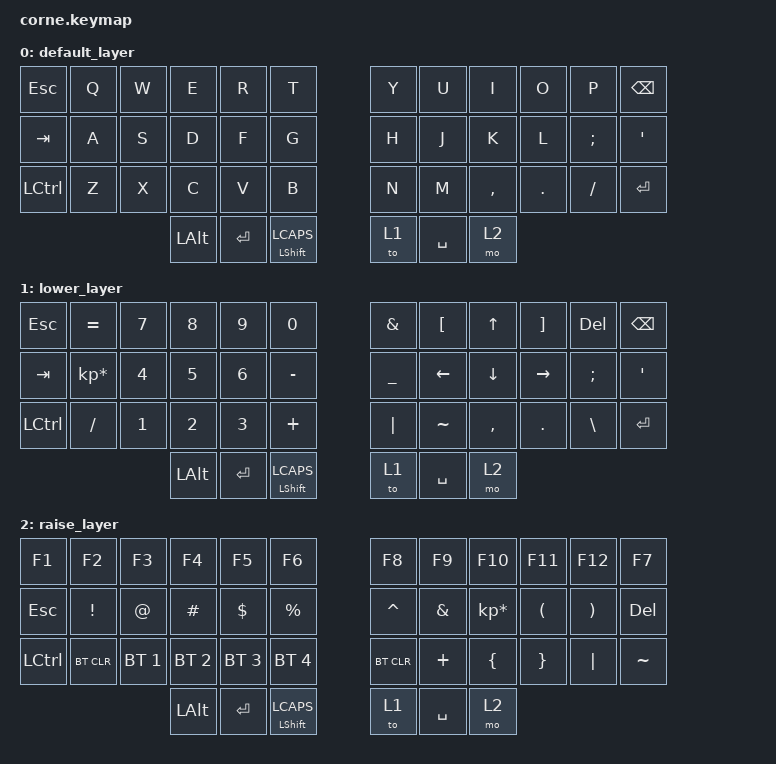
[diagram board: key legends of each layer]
/*
 * Copyright (c) 2020 The ZMK Contributors
 *
 * SPDX-License-Identifier: MIT
 */

#include <behaviors.dtsi>
#include <dt-bindings/zmk/keys.h>
#include <dt-bindings/zmk/bt.h>

/ {
        keymap {
                compatible = "zmk,keymap";

                default_layer {
// -----------------------------------------------------------------------------------------
// | ESC |  Q  |  W  |  E  |  R  |  T  |   |  Y  |  U   |  I  |  O  |  P  | BKSP |
// | TAB |  A  |  S  |  D  |  F  |  G  |   |  H  |  J   |  K  |  L  |  ;  |  '   |
// | CTRL |  Z  |  X  |  C  |  V  |  B  |   |  N  |  M   |  ,  |  .  |  /  | ENT  |
//                    | ALT | ENT | SHF |   | RSE | SPACE  | LWR |
                        bindings = <
&kp ESC	  &kp Q	  &kp W	&kp E	&kp R	&kp T		&kp Y	&kp U		&kp I		&kp O		&kp P		&kp BSPC
&kp TAB	  &kp A	  &kp S	&kp D	&kp F	&kp G		&kp H	&kp J		&kp K		&kp L		&kp SEMI	&kp SQT
&kp LCTRL &kp Z	  &kp X	&kp C	&kp V	&kp B		&kp N	&kp M		&kp COMMA	&kp DOT		&kp FSLH	&kp RET
&kp LALT 	&kp RET 	&mt LSHFT LCAPS		&to 1	&kp SPACE	&mo 2			
                        >;
                };

                lower_layer {
// -----------------------------------------------------------------------------------------
// |  ESC  |  =  |  7  |  8  |  9  |  0  |   |  &  |  [  |  UP  |  ]  | DEL | BKSP |
// |  TAB  |  *  |  4  |  5  |  6  |  -  |   |  _  | LFT |  DWN | RGT |  ;  |  '   |
// |  CTRL |  /  |  1  |  2  |  3  |  +  |   |  |  |  ~  |   ,  |  .  |  \  |  ENT |
//                     | ALT | ENT | SHF |   | RSE | SPACE  | LWR |
                        bindings = <
&kp ESC	  	&kp EQUAL	&kp N7	 &kp N8	  &kp N9	&kp N0			&kp AMPS	&kp LBKT	&kp UP		&kp RBKT	&kp DEL		&kp BSPC
&kp TAB	  	&kp KP_MULTIPLY	&kp N4	 &kp N5	  &kp N6	&kp MINUS		&kp UNDER	&kp LEFT	&kp DOWN	&kp RIGHT	&kp SEMI	&kp SQT
&kp LCTRL	&kp FSLH	&kp N1	 &kp N2	  &kp N3	&kp PLUS		&kp PIPE	&kp TILDE	&kp COMMA	&kp DOT		&kp BSLH	&kp RET
			&kp LALT 	 &kp RET 		&mt LSHFT LCAPS		&to 1		&kp SPACE	&mo 2
                        >;			
                };

                raise_layer {
// -----------------------------------------------------------------------------------------
// |  F1  |  F2   |  F3   |  F4  |  F5 |  F6  |     |  F7 |  F8 |  F9 | F10 | F11 | F12 |
// | ESC  |   !   |  @    |  #   |  $  |  %   |     |  ^  |  &  |  *  |  (  |  )  | DEL |
// | CTRL |  BTclr  |  BT1  | BT2  | BT3 |  BT4 |   |  BTclr |  +  |  {  |  }  | "|" |  ~  |
//                          | ALT | ENT | SHF |     | RSE | SPACE  | LWR |
                        bindings = <
&kp F1	  	&kp F2		&kp F3		&kp F4		&kp F5	&kp F6		&kp F8			&kp F9		&kp F10		&kp F11		&kp F12		&kp F7
&kp ESC	  	&kp EXCL	&kp AT		&kp HASH	&kp DLLR		&kp PRCNT		&kp CARET	&kp AMPS	&kp KP_MULTIPLY	&kp LPAR	&kp RPAR	&kp DEL
&kp LCTRL       &bt BT_CLR	&bt BT_SEL 1	&bt BT_SEL 2	&bt BT_SEL 3		&bt BT_SEL 4		&bt BT_CLR	&kp PLUS	&kp LBRC	&kp RBRC	&kp PIPE	&kp TILDE
				&kp LALT 	&kp RET 	&mt LSHFT LCAPS		&to 1			&kp SPACE	&mo 2
                        >;			
                };
        };
};


// -----------------------------------------------------------------------------------------
// |  TAB |  1  |  2  |  3  |  4  |  5  |   |  6  |  7  |  8  |  9  |  0  | BKSP |
// | BTCLR| BT1 | BT2 | BT3 | BT4 | BT5 |   | LFT | DWN |  UP | RGT |     |      |
// | SHFT |     |     |     |     |     |   |     |     |     |     |     |      |
//                    | GUI |     | SPC |   | ENT |     | ALT |
//                      bindings = <
// &kp TAB    &kp N1       &kp N2       &kp N3       &kp N4       &kp N5         &kp N6   &kp N7   &kp N8 &kp N9    &kp N0 &kp BSPC
// &bt BT_CLR &bt BT_SEL 0 &bt BT_SEL 1 &bt BT_SEL 2 &bt BT_SEL 3 &bt BT_SEL 4   &kp LEFT &kp DOWN &kp UP &kp RIGHT &trans &trans
// &mt LCAPS LSHFT  &trans       &trans       &trans       &trans       &trans         &trans   &trans   &trans &trans    &trans &trans
//                                  &tog 0         &kp SPACE     &tog 2               &kp LALT      &kp RET       &kp LCTRL
